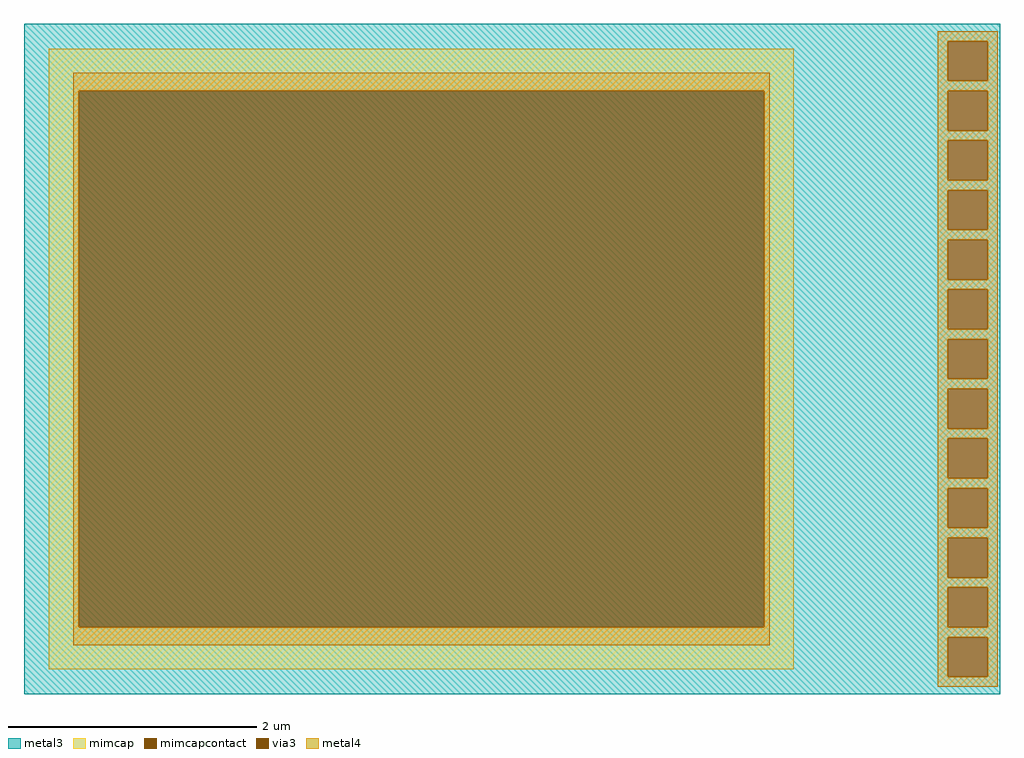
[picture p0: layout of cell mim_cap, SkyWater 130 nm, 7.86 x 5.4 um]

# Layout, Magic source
magic
tech sky130A
magscale 1 2
<< metal3 >>
rect -40 1012 1532 1040
rect -40 948 1448 1012
rect 1512 948 1532 1012
rect -40 932 1532 948
rect -40 868 1448 932
rect 1512 868 1532 932
rect -40 852 1532 868
rect -40 788 1448 852
rect 1512 788 1532 852
rect -40 772 1532 788
rect -40 708 1448 772
rect 1512 708 1532 772
rect -40 692 1532 708
rect -40 628 1448 692
rect 1512 628 1532 692
rect -40 612 1532 628
rect -40 548 1448 612
rect 1512 548 1532 612
rect -40 532 1532 548
rect -40 468 1448 532
rect 1512 468 1532 532
rect -40 452 1532 468
rect -40 388 1448 452
rect 1512 388 1532 452
rect -40 372 1532 388
rect -40 308 1448 372
rect 1512 308 1532 372
rect -40 292 1532 308
rect -40 228 1448 292
rect 1512 228 1532 292
rect -40 212 1532 228
rect -40 148 1448 212
rect 1512 148 1532 212
rect -40 132 1532 148
rect -40 68 1448 132
rect 1512 68 1532 132
rect -40 52 1532 68
rect -40 -12 1448 52
rect 1512 -12 1532 52
rect -40 -40 1532 -12
<< via3 >>
rect 1448 948 1512 1012
rect 1448 868 1512 932
rect 1448 788 1512 852
rect 1448 708 1512 772
rect 1448 628 1512 692
rect 1448 548 1512 612
rect 1448 468 1512 532
rect 1448 388 1512 452
rect 1448 308 1512 372
rect 1448 228 1512 292
rect 1448 148 1512 212
rect 1448 68 1512 132
rect 1448 -12 1512 52
<< mimcap >>
rect 0 932 1200 1000
rect 0 68 48 932
rect 1152 68 1200 932
rect 0 0 1200 68
<< mimcapcontact >>
rect 48 68 1152 932
<< metal4 >>
rect 1432 1012 1528 1028
rect 39 932 1161 961
rect 39 68 48 932
rect 1152 68 1161 932
rect 39 39 1161 68
rect 1432 948 1448 1012
rect 1512 948 1528 1012
rect 1432 932 1528 948
rect 1432 868 1448 932
rect 1512 868 1528 932
rect 1432 852 1528 868
rect 1432 788 1448 852
rect 1512 788 1528 852
rect 1432 772 1528 788
rect 1432 708 1448 772
rect 1512 708 1528 772
rect 1432 692 1528 708
rect 1432 628 1448 692
rect 1512 628 1528 692
rect 1432 612 1528 628
rect 1432 548 1448 612
rect 1512 548 1528 612
rect 1432 532 1528 548
rect 1432 468 1448 532
rect 1512 468 1528 532
rect 1432 452 1528 468
rect 1432 388 1448 452
rect 1512 388 1528 452
rect 1432 372 1528 388
rect 1432 308 1448 372
rect 1512 308 1528 372
rect 1432 292 1528 308
rect 1432 228 1448 292
rect 1512 228 1528 292
rect 1432 212 1528 228
rect 1432 148 1448 212
rect 1512 148 1528 212
rect 1432 132 1528 148
rect 1432 68 1448 132
rect 1512 68 1528 132
rect 1432 52 1528 68
rect 1432 -12 1448 52
rect 1512 -12 1528 52
rect 1432 -28 1528 -12
<< end >>
